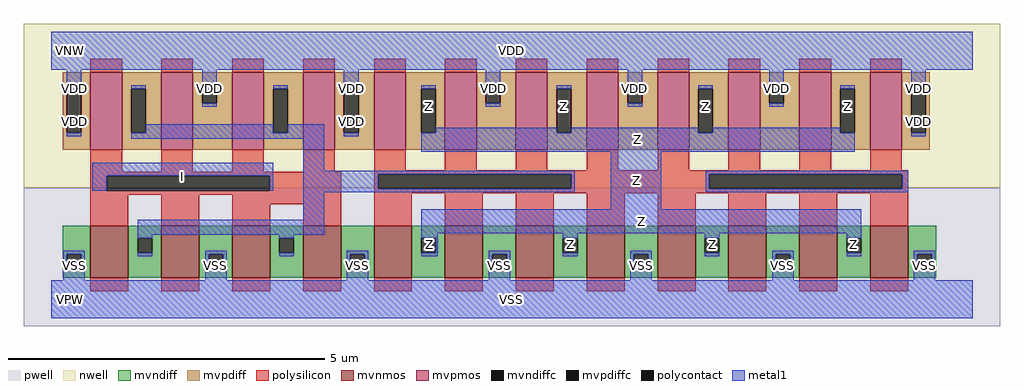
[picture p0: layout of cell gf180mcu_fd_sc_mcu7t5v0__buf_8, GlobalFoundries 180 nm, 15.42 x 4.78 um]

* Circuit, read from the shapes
.subckt gf180mcu_fd_sc_mcu7t5v0__buf_8 I Z VDD VNW VPW VSS
XM1 n1 I VSS VPW nfet_06v0 w=0.82u l=0.6u m=4
XM2 Z n1 VSS VPW nfet_06v0 w=0.82u l=0.6u m=8
XM3 n1 I VDD VNW pfet_06v0 w=1.22u l=0.5u m=4
XM4 Z n1 VDD VNW pfet_06v0 w=1.22u l=0.5u m=8
.ends

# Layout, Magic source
magic
tech gf180mcuD
magscale 1 10
<< nwell >>
rect -86 352 2998 870
<< pwell >>
rect -86 -86 2998 352
<< mvnmos >>
rect 124 68 244 232
rect 348 68 468 232
rect 572 68 692 232
rect 796 68 916 232
rect 1020 68 1140 232
rect 1244 68 1364 232
rect 1468 68 1588 232
rect 1692 68 1812 232
rect 1916 68 2036 232
rect 2140 68 2260 232
rect 2364 68 2484 232
rect 2588 68 2708 232
<< mvpmos >>
rect 124 472 224 716
rect 348 472 448 716
rect 572 472 672 716
rect 796 472 896 716
rect 1020 472 1120 716
rect 1244 472 1344 716
rect 1468 472 1568 716
rect 1692 472 1792 716
rect 1916 472 2016 716
rect 2140 472 2240 716
rect 2364 472 2464 716
rect 2588 472 2688 716
<< mvndiff >>
rect 36 142 124 232
rect 36 96 49 142
rect 95 96 124 142
rect 36 68 124 96
rect 244 192 348 232
rect 244 146 273 192
rect 319 146 348 192
rect 244 68 348 146
rect 468 142 572 232
rect 468 96 497 142
rect 543 96 572 142
rect 468 68 572 96
rect 692 192 796 232
rect 692 146 721 192
rect 767 146 796 192
rect 692 68 796 146
rect 916 142 1020 232
rect 916 96 945 142
rect 991 96 1020 142
rect 916 68 1020 96
rect 1140 192 1244 232
rect 1140 146 1169 192
rect 1215 146 1244 192
rect 1140 68 1244 146
rect 1364 142 1468 232
rect 1364 96 1393 142
rect 1439 96 1468 142
rect 1364 68 1468 96
rect 1588 192 1692 232
rect 1588 146 1617 192
rect 1663 146 1692 192
rect 1588 68 1692 146
rect 1812 142 1916 232
rect 1812 96 1841 142
rect 1887 96 1916 142
rect 1812 68 1916 96
rect 2036 192 2140 232
rect 2036 146 2065 192
rect 2111 146 2140 192
rect 2036 68 2140 146
rect 2260 142 2364 232
rect 2260 96 2289 142
rect 2335 96 2364 142
rect 2260 68 2364 96
rect 2484 192 2588 232
rect 2484 146 2513 192
rect 2559 146 2588 192
rect 2484 68 2588 146
rect 2708 142 2796 232
rect 2708 96 2737 142
rect 2783 96 2796 142
rect 2708 68 2796 96
<< mvpdiff >>
rect 36 665 124 716
rect 36 525 49 665
rect 95 525 124 665
rect 36 472 124 525
rect 224 665 348 716
rect 224 525 253 665
rect 299 525 348 665
rect 224 472 348 525
rect 448 665 572 716
rect 448 619 477 665
rect 523 619 572 665
rect 448 472 572 619
rect 672 665 796 716
rect 672 525 701 665
rect 747 525 796 665
rect 672 472 796 525
rect 896 665 1020 716
rect 896 525 925 665
rect 971 525 1020 665
rect 896 472 1020 525
rect 1120 665 1244 716
rect 1120 525 1169 665
rect 1215 525 1244 665
rect 1120 472 1244 525
rect 1344 665 1468 716
rect 1344 619 1373 665
rect 1419 619 1468 665
rect 1344 472 1468 619
rect 1568 665 1692 716
rect 1568 525 1597 665
rect 1643 525 1692 665
rect 1568 472 1692 525
rect 1792 665 1916 716
rect 1792 619 1821 665
rect 1867 619 1916 665
rect 1792 472 1916 619
rect 2016 665 2140 716
rect 2016 525 2045 665
rect 2091 525 2140 665
rect 2016 472 2140 525
rect 2240 665 2364 716
rect 2240 619 2269 665
rect 2315 619 2364 665
rect 2240 472 2364 619
rect 2464 665 2588 716
rect 2464 525 2493 665
rect 2539 525 2588 665
rect 2464 472 2588 525
rect 2688 665 2776 716
rect 2688 525 2717 665
rect 2763 525 2776 665
rect 2688 472 2776 525
<< mvndiffc >>
rect 49 96 95 142
rect 273 146 319 192
rect 497 96 543 142
rect 721 146 767 192
rect 945 96 991 142
rect 1169 146 1215 192
rect 1393 96 1439 142
rect 1617 146 1663 192
rect 1841 96 1887 142
rect 2065 146 2111 192
rect 2289 96 2335 142
rect 2513 146 2559 192
rect 2737 96 2783 142
<< mvpdiffc >>
rect 49 525 95 665
rect 253 525 299 665
rect 477 619 523 665
rect 701 525 747 665
rect 925 525 971 665
rect 1169 525 1215 665
rect 1373 619 1419 665
rect 1597 525 1643 665
rect 1821 619 1867 665
rect 2045 525 2091 665
rect 2269 619 2315 665
rect 2493 525 2539 665
rect 2717 525 2763 665
<< polysilicon >>
rect 124 716 224 760
rect 348 716 448 760
rect 572 716 672 760
rect 796 716 896 760
rect 1020 716 1120 760
rect 1244 716 1344 760
rect 1468 716 1568 760
rect 1692 716 1792 760
rect 1916 716 2016 760
rect 2140 716 2240 760
rect 2364 716 2464 760
rect 2588 716 2688 760
rect 124 402 224 472
rect 348 402 448 472
rect 572 402 672 472
rect 796 402 896 472
rect 1020 407 1120 472
rect 1244 407 1344 472
rect 1468 407 1568 472
rect 1692 407 1792 472
rect 1916 407 2016 472
rect 2140 407 2240 472
rect 2364 407 2464 472
rect 2588 407 2688 472
rect 124 389 916 402
rect 124 343 175 389
rect 691 343 916 389
rect 124 330 916 343
rect 124 232 244 330
rect 348 232 468 330
rect 572 300 916 330
rect 572 232 692 300
rect 796 232 916 300
rect 1020 394 2708 407
rect 1020 348 1033 394
rect 1643 348 2079 394
rect 2689 348 2708 394
rect 1020 335 2708 348
rect 1020 232 1140 335
rect 1244 232 1364 335
rect 1468 232 1588 335
rect 1692 232 1812 335
rect 1916 232 2036 335
rect 2140 232 2260 335
rect 2364 232 2484 335
rect 2588 232 2708 335
rect 124 24 244 68
rect 348 24 468 68
rect 572 24 692 68
rect 796 24 916 68
rect 1020 24 1140 68
rect 1244 24 1364 68
rect 1468 24 1588 68
rect 1692 24 1812 68
rect 1916 24 2036 68
rect 2140 24 2260 68
rect 2364 24 2484 68
rect 2588 24 2708 68
<< polycontact >>
rect 175 343 691 389
rect 1033 348 1643 394
rect 2079 348 2689 394
<< metal1 >>
rect 0 724 2912 844
rect 49 665 95 724
rect 49 514 95 525
rect 253 665 299 676
rect 477 665 523 724
rect 477 608 523 619
rect 701 665 747 676
rect 299 525 701 552
rect 925 665 971 724
rect 747 525 863 552
rect 253 506 863 525
rect 925 514 971 525
rect 1169 665 1215 676
rect 1373 665 1419 724
rect 1373 608 1419 619
rect 1597 665 1643 676
rect 1215 525 1597 542
rect 1821 665 1867 724
rect 1821 608 1867 619
rect 2045 665 2091 676
rect 1643 525 2045 542
rect 2269 665 2315 724
rect 2269 608 2315 619
rect 2493 665 2539 676
rect 2091 525 2493 542
rect 130 389 702 430
rect 130 343 175 389
rect 691 343 702 389
rect 796 405 863 506
rect 1169 466 2539 525
rect 2717 665 2763 724
rect 2717 514 2763 525
rect 796 394 1654 405
rect 796 348 1033 394
rect 1643 348 1654 394
rect 796 337 1654 348
rect 796 250 863 337
rect 1768 284 1928 466
rect 2068 394 2708 406
rect 2068 348 2079 394
rect 2689 348 2708 394
rect 2068 337 2708 348
rect 273 203 863 250
rect 1169 208 2559 284
rect 273 192 319 203
rect 38 142 106 153
rect 38 96 49 142
rect 95 96 106 142
rect 721 192 767 203
rect 273 135 319 146
rect 486 142 554 153
rect 38 60 106 96
rect 486 96 497 142
rect 543 96 554 142
rect 1169 192 1221 208
rect 721 135 767 146
rect 934 142 1002 153
rect 486 60 554 96
rect 934 96 945 142
rect 991 96 1002 142
rect 1215 146 1221 192
rect 1617 192 1663 208
rect 1169 135 1221 146
rect 1382 142 1450 153
rect 934 60 1002 96
rect 1382 96 1393 142
rect 1439 96 1450 142
rect 2065 192 2111 208
rect 1617 135 1663 146
rect 1830 142 1898 153
rect 1382 60 1450 96
rect 1830 96 1841 142
rect 1887 96 1898 142
rect 2513 192 2559 208
rect 2065 135 2111 146
rect 2278 142 2346 153
rect 1830 60 1898 96
rect 2278 96 2289 142
rect 2335 96 2346 142
rect 2513 135 2559 146
rect 2726 142 2794 153
rect 2278 60 2346 96
rect 2726 96 2737 142
rect 2783 96 2794 142
rect 2726 60 2794 96
rect 0 -60 2912 60
<< labels >>
flabel metal1 s 2493 542 2539 676 0 FreeSans 600 0 0 0 Z
port 2 nsew default output
flabel metal1 s 130 343 702 430 0 FreeSans 600 0 0 0 I
port 1 nsew default input
flabel metal1 s 0 724 2912 844 0 FreeSans 400 0 0 0 VDD
port 3 nsew power bidirectional abutment
flabel metal1 s 2726 60 2794 153 0 FreeSans 400 0 0 0 VSS
port 6 nsew ground bidirectional abutment
flabel nwell s 10 734 110 834 0 FreeSans 400 0 0 0 VNW
port 4 nsew power bidirectional
flabel pwell s 10 -50 110 50 0 FreeSans 400 0 0 0 VPW
port 5 nsew ground bidirectional
rlabel metal1 s 2045 542 2091 676 1 Z
port 2 nsew default output
rlabel metal1 s 1597 542 1643 676 1 Z
port 2 nsew default output
rlabel metal1 s 1169 542 1215 676 1 Z
port 2 nsew default output
rlabel metal1 s 1169 466 2539 542 1 Z
port 2 nsew default output
rlabel metal1 s 1768 284 1928 466 1 Z
port 2 nsew default output
rlabel metal1 s 1169 208 2559 284 1 Z
port 2 nsew default output
rlabel metal1 s 2513 135 2559 208 1 Z
port 2 nsew default output
rlabel metal1 s 2065 135 2111 208 1 Z
port 2 nsew default output
rlabel metal1 s 1617 135 1663 208 1 Z
port 2 nsew default output
rlabel metal1 s 1169 135 1221 208 1 Z
port 2 nsew default output
rlabel metal1 s 2717 608 2763 724 1 VDD
port 3 nsew power bidirectional abutment
rlabel metal1 s 2269 608 2315 724 1 VDD
port 3 nsew power bidirectional abutment
rlabel metal1 s 1821 608 1867 724 1 VDD
port 3 nsew power bidirectional abutment
rlabel metal1 s 1373 608 1419 724 1 VDD
port 3 nsew power bidirectional abutment
rlabel metal1 s 925 608 971 724 1 VDD
port 3 nsew power bidirectional abutment
rlabel metal1 s 477 608 523 724 1 VDD
port 3 nsew power bidirectional abutment
rlabel metal1 s 49 608 95 724 1 VDD
port 3 nsew power bidirectional abutment
rlabel metal1 s 2717 514 2763 608 1 VDD
port 3 nsew power bidirectional abutment
rlabel metal1 s 925 514 971 608 1 VDD
port 3 nsew power bidirectional abutment
rlabel metal1 s 49 514 95 608 1 VDD
port 3 nsew power bidirectional abutment
rlabel metal1 s 2278 60 2346 153 1 VSS
port 6 nsew ground bidirectional abutment
rlabel metal1 s 1830 60 1898 153 1 VSS
port 6 nsew ground bidirectional abutment
rlabel metal1 s 1382 60 1450 153 1 VSS
port 6 nsew ground bidirectional abutment
rlabel metal1 s 934 60 1002 153 1 VSS
port 6 nsew ground bidirectional abutment
rlabel metal1 s 486 60 554 153 1 VSS
port 6 nsew ground bidirectional abutment
rlabel metal1 s 38 60 106 153 1 VSS
port 6 nsew ground bidirectional abutment
rlabel metal1 s 0 -60 2912 60 1 VSS
port 6 nsew ground bidirectional abutment
<< properties >>
string FIXED_BBOX 0 0 2912 784
string GDS_END 1351028
string GDS_FILE $PDKPATH/libs.ref/gf180mcu_fd_sc_mcu7t5v0/gds/gf180mcu_fd_sc_mcu7t5v0.gds
string GDS_START 1344176
string LEFclass core
string LEFsite GF018hv5v_mcu_sc7
string LEFsymmetry X Y
<< end >>
